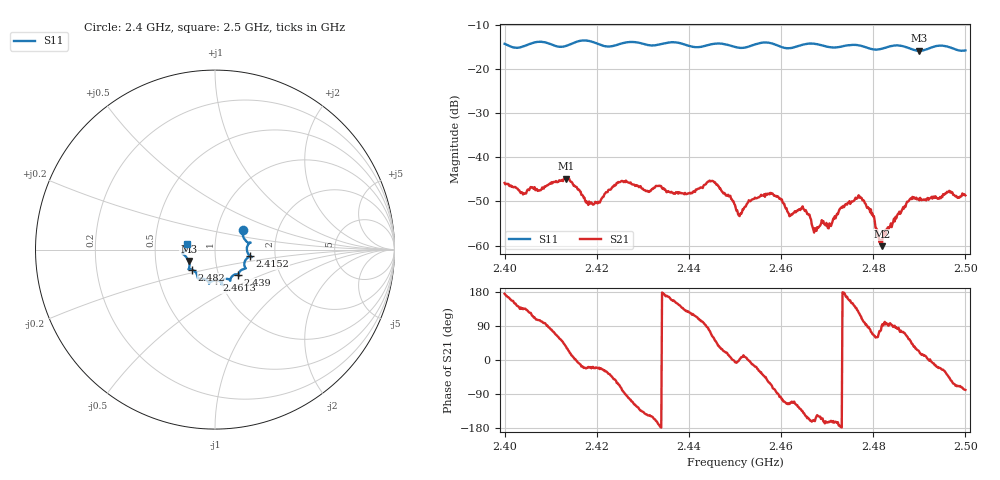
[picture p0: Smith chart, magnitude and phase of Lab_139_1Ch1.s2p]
# Hz S RI R 50
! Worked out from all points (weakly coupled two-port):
!   601 points, 2.4 GHz to 2.5 GHz, reference 50 ohm
!   highest |S21| = -44.81 dB at 2.4133 GHz (marker M1); lowest = -60.1 dB at 2.4818 GHz (marker M2)
!   lowest |S11| = -15.9 dB at 2.49 GHz (marker M3), VSWR 1.38, Z = 36.9 - j4.81 ohm
!   |S11| at or under -10 dB: start of sweep to end of sweep
!   S12 and S22 are empty: the file has one direction only
!   S11 on the Smith chart (normalised r, x): 2.4 GHz: 1.33, +0.31; 2.4152 GHz: 1.48, -0.11; 2.439 GHz: 1.24, -0.36; 2.4613 GHz: 0.96, -0.34; 2.482 GHz: 0.76, -0.18; 2.5 GHz: 0.73, +0.05
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2.4e9  0.1561 0.1117  -0.0051 0.000463  0 0  0 0
2.404167e9  0.1739 0.0465  -0.00281 0.00273  0 0  0 0
2.413333e9  0.181 -0.015  0.0047 0.00331  0 0  0 0
2.415167e9  0.1947 -0.0364  0.00477 0.000226  0 0  0 0
2.416667e9  0.2044 -0.0422  0.00358 -0.00113  0 0  0 0
2.419e9  0.1986 -0.0394  0.00282 -0.000955  0 0  0 0
2.425167e9  0.166 -0.0967  0.00165 -0.00502  0 0  0 0
2.433333e9  0.1325 -0.1325  -0.00465 -0.000903  0 0  0 0
2.439e9  0.1281 -0.1389  -0.0026 0.00279  0 0  0 0
2.445e9  0.084 -0.1707  0.00237 0.00487  0 0  0 0
2.45e9  0.0684 -0.1632  0.00286 -0.000291  0 0  0 0
2.457667e9  0.0401 -0.1917  0.00179 -0.00352  0 0  0 0
2.461333e9  0.0078 -0.1708  -0.00102 -0.00224  0 0  0 0
2.464833e9  -0.0314 -0.1856  -0.002 -0.00169  0 0  0 0
2.466667e9  -0.0331 -0.1903  -0.00165 -0.000515  0 0  0 0
2.4705e9  -0.0478 -0.1695  -0.00172 -0.000498  0 0  0 0
2.477e9  -0.0957 -0.157  -0.00186 0.00295  0 0  0 0
2.481833e9  -0.125 -0.113  -3.74e-06 0.000987  0 0  0 0
2.482e9  -0.1269 -0.1123  -9.49e-05 0.0012  0 0  0 0
2.483333e9  -0.1398 -0.11  -7.02e-06 0.00153  0 0  0 0
2.49e9  -0.1467 -0.0635  0.00302 0.0012  0 0  0 0
2.5e9  -0.1581 0.0336  0.000719 -0.00363  0 0  0 0
